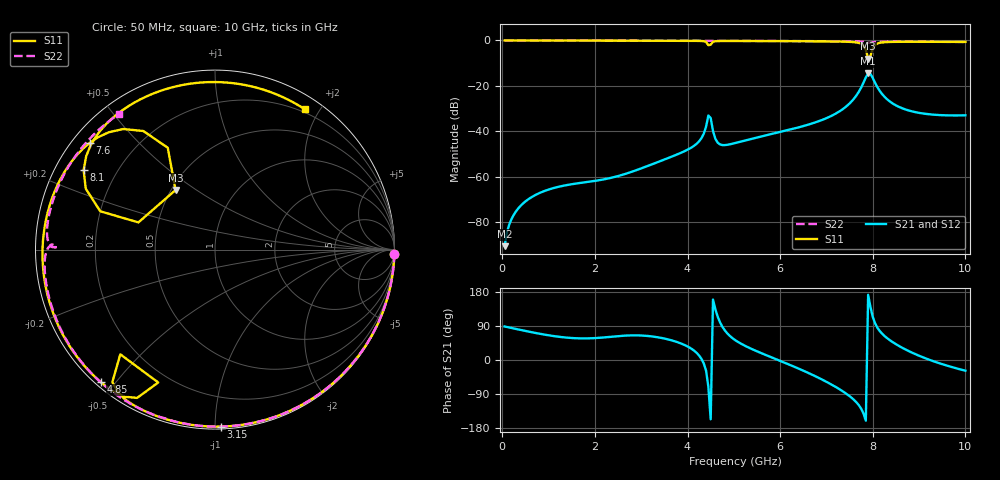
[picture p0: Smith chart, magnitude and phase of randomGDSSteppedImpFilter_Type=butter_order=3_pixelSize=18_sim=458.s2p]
! freq	dB(S11)	phase(S11)	dB(S12)	phase(S12)
!  dB(S21)	phase(S21)	dB(S22)	phase(S22)
!S-par simulation data
#  GHz  S  DB  R 50
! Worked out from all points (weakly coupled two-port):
!   200 points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, 50 MHz to 10 GHz, reference 50 ohm
!   highest |S21| = -14.53 dB at 7.9 GHz (marker M1); lowest = -90.6 dB at 50 MHz (marker M2)
!   lowest |S11| = -8.0 dB at 7.9 GHz (marker M3), VSWR 2.32, Z = 26.3 + j20.8 ohm
!   |S11| at or under -10 dB: nowhere
!   |S22| runs from -1.0 to 0.0 dB; largest |S21 - S12| = 0
!   S11 on the Smith chart (normalised r, x): 50 MHz: 1, -78; 3.15 GHz: 0.01, -1.03; 4.85 GHz: 0.02, -0.46; 7.6 GHz: 0.05, +0.37; 8.1 GHz: 0.08, +0.28; 10 GHz: 0.16, +1.81
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0.05  -0.00 -1.5  -90.60 88.4  -90.60 88.4  -0.00 -1.3
0.75  -0.02 -21.7  -67.70 70.5  -67.70 70.5  -0.02 -19.1
1.75  -0.06 -50.0  -62.57 56.9  -62.57 56.9  -0.06 -44.0
3.15  -0.11 -88.2  -55.20 63.3  -55.20 63.3  -0.10 -77.1
3.4  -0.13 -94.9  -53.24 59.1  -53.24 59.1  -0.11 -82.8
4.2  -0.19 -117.5  -45.45 18.4  -45.45 18.4  -0.14 -100.6
4.35  -0.33 -123.9  -41.10 -8.9  -41.10 -8.9  -0.15 -103.9
4.45  -2.08 -132.1  -33.05 -71.0  -33.05 -71.0  -0.17 -106.1
4.5  -1.88 -113.1  -34.15 -156.4  -34.15 -156.4  -0.17 -107.0
4.65  -0.28 -123.8  -44.99 114.8  -44.99 114.8  -0.16 -110.3
4.85  -0.22 -130.8  -45.99 71.5  -45.99 71.5  -0.17 -114.7
5.05  -0.22 -136.7  -45.07 50.7  -45.07 50.7  -0.18 -118.9
6.7  -0.37 175.2  -36.49 -39.3  -36.49 -39.3  -0.30 -154.3
7.6  -0.76 139.5  -25.49 -105.9  -25.49 -105.9  -0.42 -175.0
7.8  -2.25 121.1  -18.56 -141.3  -18.56 -141.3  -0.63 179.4
7.9  -8.00 123.5  -14.53 172.0  -14.53 172.0  -1.04 178.2
7.95  -6.88 160.4  -14.71 139.4  -14.71 139.4  -1.03 179.3
8  -3.43 161.5  -16.53 113.8  -16.53 113.8  -0.82 179.1
8.1  -1.35 148.8  -20.59 85.2  -20.59 85.2  -0.59 176.4
8.35  -0.67 130.8  -26.59 53.9  -26.59 53.9  -0.50 169.6
9.15  -0.59 94.5  -32.35 3.9  -32.35 3.9  -0.56 148.9
10  -0.65 57.4  -32.97 -28.3  -32.97 -28.3  -0.67 125.1
